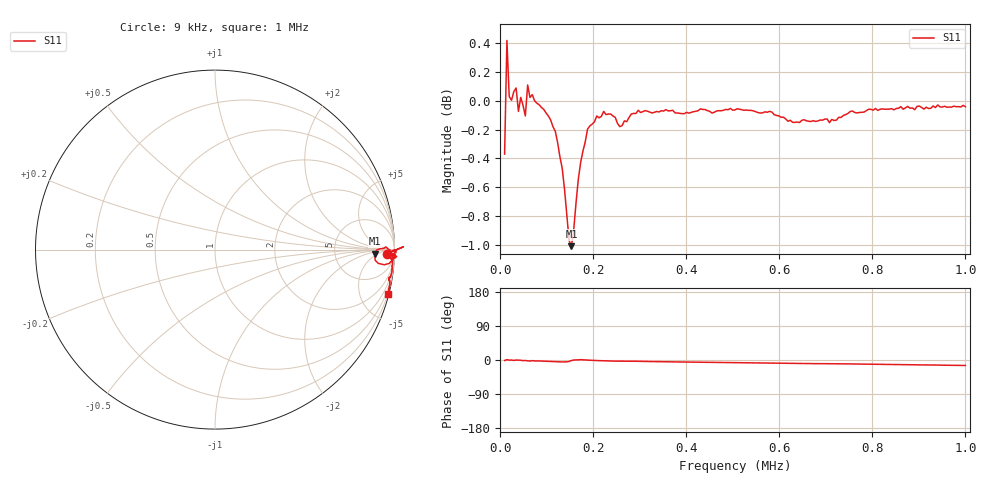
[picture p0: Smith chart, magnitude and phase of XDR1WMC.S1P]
!Agilent Technologies,E5071C,MY46100305,A.07.02
!Date: Fri Jan 01 00:40:12 1988
!Data & Calibration Information:
!Freq	S11:SOLT1(ON)
# Hz S MA R 50
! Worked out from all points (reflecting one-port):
!   201 points, 9 kHz to 1 MHz, reference 50 ohm
!   lowest |S11| = -1.0 dB at 152.7 kHz (marker M1), VSWR 17.23, Z = 822 - j179 ohm
!   phase of S11 starts at -1 deg and turns -13 deg over the sweep
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9000  0.9583 -1.3
13955  1.05 0.9
18910  1.004 -0.3
23865  1.001 -0.1
28820  1.007 -1.1
33775  1.01 -0.2
38730  0.9916 -0.3
48640  0.9964 -1.6
53595  0.988 -1.2
58550  1.013 -2.2
63505  1.003 -2.7
68460  1.005 -1.7
108100  0.9848 -3.8
132875  0.9476 -5.1
142785  0.913 -4.8
152695  0.8903 -1.5
157650  0.9021 -0.1
172515  0.9519 0.9
187380  0.9777 -0.3
222065  0.9917 -2.0
256750  0.9797 -3.0
296390  0.9925 -3.4
380625  0.9904 -5.1
504500  0.9929 -7.2
628375  0.983 -9.0
752250  0.9916 -10.4
876125  0.9956 -12.4
1000000  0.9954 -14.4
